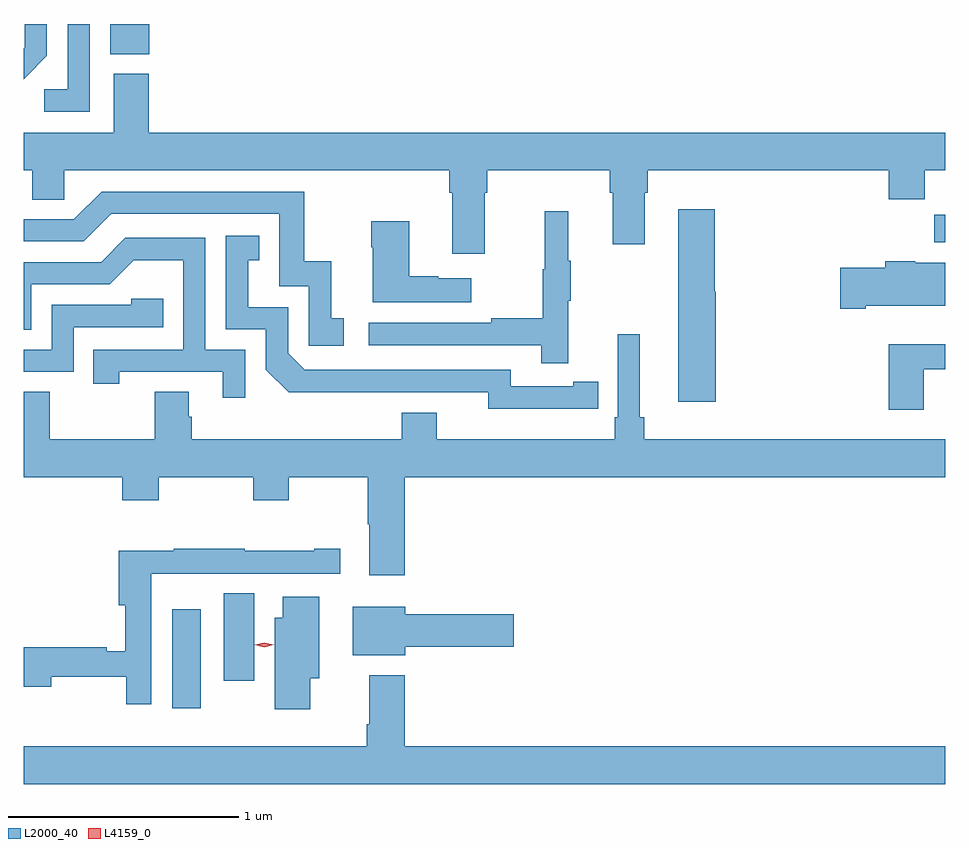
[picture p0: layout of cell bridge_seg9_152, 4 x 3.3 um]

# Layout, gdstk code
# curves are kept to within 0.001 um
import gdstk
lib = gdstk.Library(unit=1e-6, precision=1e-09)
def R(c, l, rs):  # rectangles x0, y0, x1, y1
    for r in rs: c.add(gdstk.rectangle(r[:2], r[2:], *l))
def P(c, l, *ps):  # polygons
    for p in ps: c.add(gdstk.Polygon(p, *l))
L2000_40 = (2000, 40)
L4159_0 = (4159, 0)

bridge_seg9_152 = lib.new_cell('bridge_seg9_152')
R(bridge_seg9_152, L2000_40, [(555.86,1176.768,555.982,1177.198), (556.082,1176.888,556.216,1177.268), (559.168,1178.792,559.215,1178.911), (555.59,1179.608,555.76,1179.74)])
P(bridge_seg9_152, L2000_40, [(555.501,1179.74),(555.405,1179.74),(555.405,1179.456),(555.303,1179.456),(555.303,1179.36),(555.501,1179.36)],
  [(555.223,1179.509),(555.315,1179.602),(555.315,1179.74),(555.219,1179.74),(555.219,1179.639),(555.215,1179.635),(555.215,1179.501)],
  [(557.215,1179.008),(557.228,1179.008),(557.228,1179.104),(557.759,1179.104),(557.759,1179.008),(557.771,1179.008),(557.771,1178.784),(557.911,1178.784),(557.911,1179.008),(557.924,1179.008),(557.924,1179.104),(558.971,1179.104),(558.971,1178.98),(559.127,1178.98),(559.127,1179.104),(559.215,1179.104),(559.215,1179.268),(555.758,1179.268),(555.758,1179.523),(555.605,1179.523),(555.605,1179.268),(555.215,1179.268),(555.215,1179.104),(555.251,1179.104),(555.251,1178.977),(555.39,1178.977),(555.39,1179.104),(557.063,1179.104),(557.063,1179.008),(557.075,1179.008),(557.075,1178.742),(557.215,1178.742)],
  [(556.603,1178.463),(556.55,1178.463),(556.55,1178.71),(556.432,1178.71),(556.432,1179.012),(555.552,1179.012),(555.432,1178.892),(555.215,1178.892),(555.215,1178.796),(555.474,1178.796),(555.594,1178.916),(556.323,1178.916),(556.323,1178.601),(556.452,1178.601),(556.452,1178.343),(556.603,1178.343)],
  [(558.22,1178.577),(558.215,1178.577),(558.215,1178.935),(558.056,1178.935),(558.056,1178.1),(558.22,1178.1)],
  [(557.579,1178.539),(557.59,1178.539),(557.59,1178.713),(557.579,1178.713),(557.579,1178.926),(557.476,1178.926),(557.476,1178.676),(557.469,1178.676),(557.469,1178.462),(557.245,1178.462),(557.245,1178.442),(556.713,1178.442),(556.713,1178.346),(557.461,1178.346),(557.461,1178.268),(557.579,1178.268)],
  [(557.158,1178.635),(557.015,1178.635),(557.015,1178.645),(556.888,1178.645),(556.888,1178.884),(556.723,1178.884),(556.723,1178.771),(556.73,1178.771),(556.73,1178.531),(557.158,1178.531)],
  [(557.6,1178.07),(557.708,1178.07),(557.708,1178.186),(557.6,1178.186),(557.6,1178.166),(557.328,1178.166),(557.328,1178.238),(556.434,1178.238),(556.362,1178.31),(556.362,1178.511),(556.189,1178.511),(556.189,1178.715),(556.238,1178.715),(556.238,1178.821),(556.092,1178.821),(556.092,1178.415),(556.266,1178.415),(556.266,1178.238),(556.364,1178.141),(557.232,1178.142),(557.232,1178.069)],
  [(556.176,1178.325),(556.002,1178.325),(556.002,1178.811),(555.656,1178.811),(555.551,1178.706),(555.215,1178.706),(555.215,1178.412),(555.246,1178.412),(555.246,1178.61),(555.588,1178.61),(555.692,1178.714),(555.906,1178.714),(555.906,1178.325),(555.517,1178.325),(555.517,1178.178),(555.628,1178.178),(555.628,1178.229),(556.079,1178.229),(556.079,1178.118),(556.176,1178.118)],
  [(558.871,1178.516),(559.215,1178.516),(559.215,1178.704),(559.086,1178.704),(559.086,1178.71),(558.956,1178.71),(558.956,1178.682),(558.759,1178.682),(558.759,1178.504),(558.871,1178.504)],
  [(555.432,1178.424),(555.821,1178.424),(555.821,1178.547),(555.681,1178.547),(555.681,1178.52),(555.336,1178.52),(555.336,1178.325),(555.215,1178.325),(555.215,1178.229),(555.432,1178.229)],
  [(556.868,1177.772),(559.215,1177.772),(559.215,1177.936),(557.909,1177.936),(557.909,1178.032),(557.89,1178.032),(557.89,1178.392),(557.793,1178.392),(557.793,1178.032),(557.78,1178.032),(557.78,1177.936),(557.008,1177.936),(557.008,1178.053),(556.856,1178.053),(556.856,1177.936),(555.944,1177.936),(555.944,1178.034),(555.931,1178.034),(555.931,1178.144),(555.784,1178.144),(555.784,1177.936),(555.327,1177.936),(555.327,1178.144),(555.215,1178.144),(555.215,1177.772),(555.641,1177.772),(555.641,1177.673),(555.801,1177.673),(555.801,1177.772),(556.21,1177.772),(556.21,1177.673),(556.365,1177.673),(556.365,1177.772),(556.708,1177.772),(556.708,1177.568),(556.715,1177.568),(556.715,1177.347),(556.868,1177.347)],
  [(559.123,1178.241),(559.215,1178.241),(559.215,1178.35),(558.971,1178.35),(558.971,1178.064),(559.123,1178.064)],
  [(555.768,1177.352),(555.978,1177.352),(555.978,1177.353),(556.588,1177.353),(556.588,1177.462),(556.475,1177.462),(556.475,1177.452),(556.175,1177.452),(556.175,1177.462),(555.865,1177.462),(555.865,1177.452),(555.626,1177.452),(555.626,1177.217),(555.656,1177.217),(555.656,1177.016),(555.575,1177.016),(555.575,1177.034),(555.215,1177.034),(555.215,1176.863),(555.334,1176.863),(555.334,1176.906),(555.66,1176.906),(555.66,1176.786),(555.768,1176.786)],
  [(556.459,1176.899),(556.498,1176.899),(556.498,1177.252),(556.34,1177.252),(556.34,1177.162),(556.304,1177.162),(556.304,1176.765),(556.459,1176.765)],
  [(556.87,1177.036),(557.341,1177.036),(557.341,1177.178),(556.87,1177.178),(556.87,1177.21),(556.643,1177.21),(556.643,1176.998),(556.87,1176.998)],
  [(559.215,1176.604),(556.868,1176.604),(556.868,1176.913),(556.715,1176.913),(556.715,1176.7),(556.703,1176.7),(556.703,1176.604),(555.215,1176.604),(555.215,1176.44),(559.215,1176.44)])
P(bridge_seg9_152, L4159_0, [(556.259,1177.034),(556.217,1177.044),(556.217,1177.044),(556.217,1177.044),(556.259,1177.054),(556.3,1177.044),(556.3,1177.044),(556.3,1177.044)])

lib.write_gds('bridge_seg9_152.gds')
